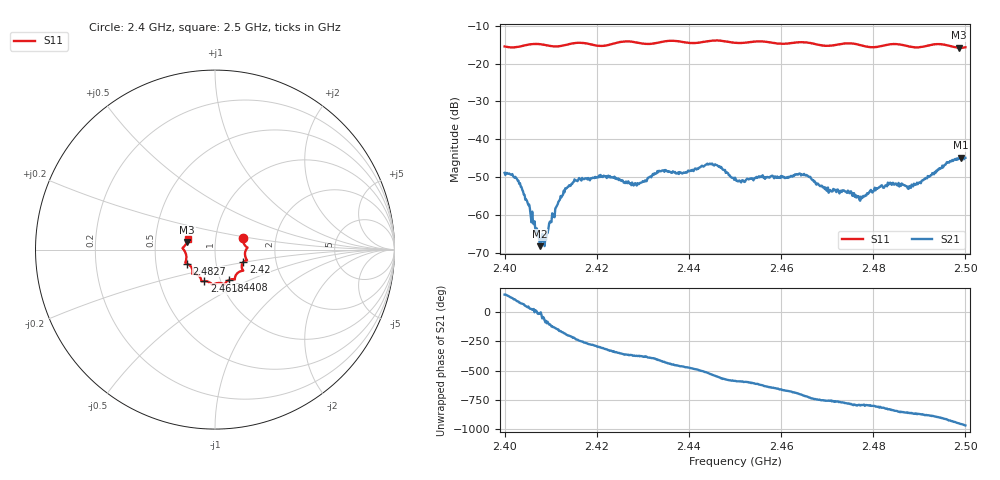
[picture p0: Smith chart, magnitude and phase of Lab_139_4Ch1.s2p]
# Hz S RI R 50
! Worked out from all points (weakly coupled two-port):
!   601 points, 2.4 GHz to 2.5 GHz, reference 50 ohm
!   highest |S21| = -44.87 dB at 2.499 GHz (marker M1); lowest = -68.2 dB at 2.4077 GHz (marker M2)
!   lowest |S11| = -15.8 dB at 2.4987 GHz (marker M3), VSWR 1.39, Z = 36.4 + j3.16 ohm
!   |S11| at or under -10 dB: start of sweep to end of sweep
!   S12 and S22 are empty: the file has one direction only
!   S11 on the Smith chart (normalised r, x): 2.4 GHz: 1.36, +0.17; 2.42 GHz: 1.36, -0.19; 2.4408 GHz: 1.10, -0.39; 2.4618 GHz: 0.84, -0.30; 2.4827 GHz: 0.72, -0.12; 2.5 GHz: 0.73, +0.09
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2.4e9  0.1562 0.0621  -0.00304 0.00194  0 0  0 0
2.403167e9  0.1653 0.0252  0.000452 0.00254  0 0  0 0
2.407667e9  0.18 0.00938  0.000374 -0.000103  0 0  0 0
2.409e9  0.1746 0.00257  0.00011 -0.000458  0 0  0 0
2.4115e9  0.1668 -0.0236  -0.00118 -0.000715  0 0  0 0
2.413333e9  0.1706 -0.0444  -0.0022 0.000452  0 0  0 0
2.416667e9  0.1783 -0.0594  -0.000888 0.00271  0 0  0 0
2.42e9  0.1581 -0.0693  0.00121 0.00288  0 0  0 0
2.4285e9  0.149 -0.1188  0.00245 -0.000669  0 0  0 0
2.433333e9  0.1121 -0.152  0.00247 -0.00271  0 0  0 0
2.440833e9  0.0788 -0.1689  -0.00211 -0.00333  0 0  0 0
2.4455e9  0.0525 -0.1945  -0.00451 0.000178  0 0  0 0
2.45e9  0.0278 -0.1859  -0.00212 0.00229  0 0  0 0
2.461833e9  -0.0601 -0.1752  0.00226 0.00222  0 0  0 0
2.466667e9  -0.0771 -0.1684  0.00282 -0.000856  0 0  0 0
2.477167e9  -0.1251 -0.1231  0.000336 -0.00151  0 0  0 0
2.482667e9  -0.1573 -0.078  -0.000608 -0.0024  0 0  0 0
2.483333e9  -0.1613 -0.0764  -0.000821 -0.0024  0 0  0 0
2.488e9  -0.1595 -0.0496  -0.00183 -0.00149  0 0  0 0
2.498667e9  -0.1559 0.0423  -0.00358 0.00419  0 0  0 0
2.499e9  -0.1546 0.047  -0.00331 0.00465  0 0  0 0
2.5e9  -0.152 0.0617  -0.0022 0.00525  0 0  0 0
